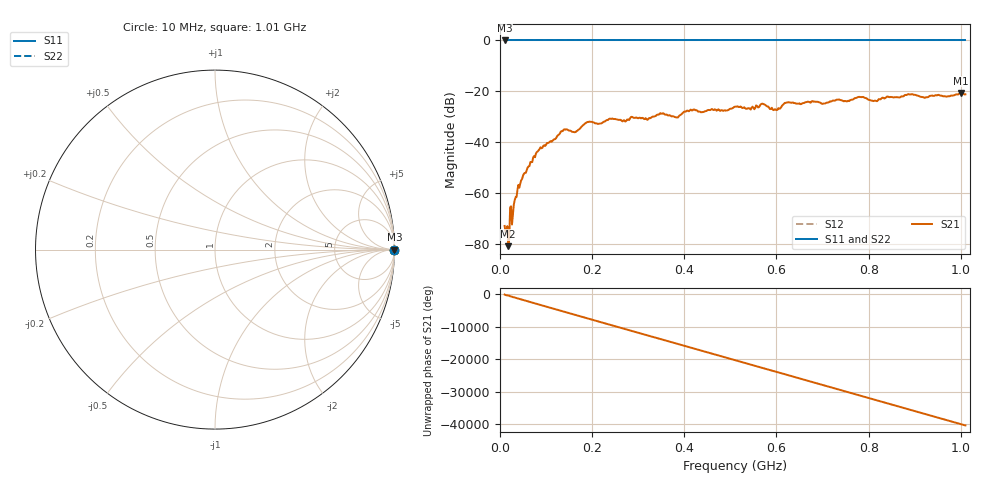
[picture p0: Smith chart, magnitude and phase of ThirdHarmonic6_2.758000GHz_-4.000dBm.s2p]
! 8/17/2025 6:56:24 AM
! C:\ANRITSUVNA\TEMP\TEMP.S2P
! CHANNEL.1
! TR.MEASUREMENT
! RAW.DATA
! RF.CORRECTION.OFF
! AVERAGING.OFF
! IF.BANDWIDTH: 5KHZ
! SWEEPTYPE:  FREQ.SWEEP(Linear)
! Reference Plane Port Info
! PORT:  PORT1  PORT2
! DISTANCE:  0  m  0  m
! TIME:  0  s  0  s
! PHASE.OFFSET:  0  deg.  0  deg.
! LOSS:  0  dB  0  dB
! REF.LOSS:  0  dB  0  dB
! REF.FREQ:  0  Hz  0  Hz
! Power Info
! POWER:  -20  dBm  -20  dBm
! EFF.POWER:  -20  dBm  -20  dBm
! SOURCE.ATTEN:  0  dB  0  dB
! TEST.ATTEN:  0  dB  0  dB
# GHZ S RI R 50.0
! FREQ.GHZ  S11RE  S11IM  S21RE  S21IM  S12RE  S12IM  S22RE  S22IM
!; PortSelection: Port_12
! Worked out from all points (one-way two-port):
!   501 points, 10 MHz to 1.01 GHz, reference 50 ohm
!   highest |S21| = -20.63 dB at 1 GHz (marker M1); lowest = -80.9 dB at 18 MHz (marker M2)
!   lowest |S11| = 0.0 dB at 10 MHz (marker M3)
!   |S11| at or under -10 dB: nowhere
!   |S22| runs from 0.0 to 0.0 dB; largest |S21 - S12| = 1.1
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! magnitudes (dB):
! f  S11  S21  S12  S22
! 10 MHz  0.0  -72.9  0.0  0.0
! 16 MHz  0.0  -73.0  0.0  0.0
! 18 MHz  0.0  -80.9  0.0  0.0
! 22 MHz  0.0  -65.6  0.0  0.0
! 26 MHz  0.0  -72.4  0.0  0.0
! 42 MHz  0.0  -57.9  0.0  0.0
! 82 MHz  0.0  -43.6  0.0  0.0
! 136 MHz  0.0  -35.7  0.0  0.0
! 162 MHz  0.0  -36.1  0.0  0.0
! 178 MHz  0.0  -33.7  0.0  0.0
! 192 MHz  0.0  -32.1  0.0  0.0
! 344 MHz  0.0  -29.2  0.0  0.0
! 382 MHz  0.0  -30.2  0.0  0.0
! 418 MHz  0.0  -27.5  0.0  0.0
! 510 MHz  0.0  -26.0  0.0  0.0
! 570 MHz  0.0  -24.9  0.0  0.0
! 598 MHz  0.0  -27.1  0.0  0.0
! 622 MHz  0.0  -24.4  0.0  0.0
! 678 MHz  0.0  -23.8  0.0  0.0
! 844 MHz  0.0  -22.2  0.0  0.0
! 1 GHz  0.0  -20.6  0.0  0.0
! 1.01 GHz  0.0  -21.2  0.0  0.0
